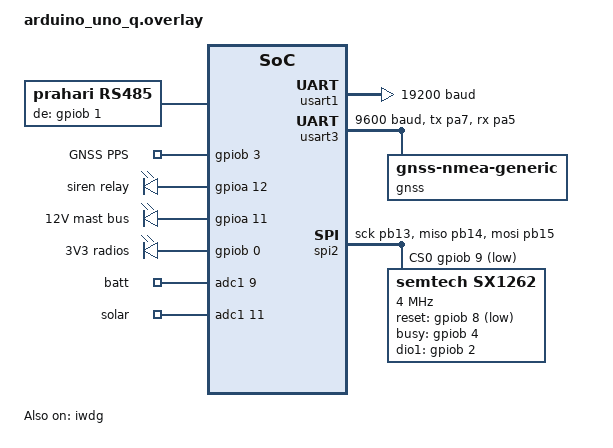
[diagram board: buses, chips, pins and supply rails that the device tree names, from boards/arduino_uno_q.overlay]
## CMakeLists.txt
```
# PRAHARI Code B — head node, MCU side (STM32U585 on the Arduino UNO Q).
# Blueprint §6.1: RS-485 bus master, LoRa TDMA timing, power sequencing,
# watchdog, GNSS pulse capture; plus the §6.8 siren/relay actuator.
#
# Build from the Zephyr workspace (code_a_pod_firmware/ holds the single
# Zephyr checkout for this repo):
#   cd code_a_pod_firmware && west build -b arduino_uno_q -d build/hn_mcu ../code_b_head_node/mcu
# SPDX-License-Identifier: Apache-2.0
cmake_minimum_required(VERSION 3.20.0)
find_package(Zephyr REQUIRED HINTS $ENV{ZEPHYR_BASE})
project(prahari_head_node_mcu LANGUAGES C)

# The pod <-> head-node wire protocol is defined once, in Code A, and
# compiled into both sides.  This is a protocol dependency, not a
# dependency on pod behaviour.
set(PRAHARI_CODE_A ${CMAKE_CURRENT_SOURCE_DIR}/../../code_a_pod_firmware/app)

target_include_directories(app PRIVATE include ${PRAHARI_CODE_A}/include)

target_sources(app PRIVATE
  # hardware-independent (also compiled into the ztest suites)
  src/tdma.c
  src/pps.c
  src/bus_master.c
  src/supervisor.c
  src/rails.c
  src/alert.c
  src/mprpc.c
  src/bridge_contract.c
  ${PRAHARI_CODE_A}/src/wire.c
  ${PRAHARI_CODE_A}/src/rs485.c
  # hardware glue + main
  src/hw_bus.c
  src/hw_lora.c
  src/hw_gnss.c
  src/hw_wdt.c
  src/hw_rails.c
  src/hw_alert.c
  src/hw_rpc.c
  src/main.c
)
```

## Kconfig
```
# SPDX-License-Identifier: Apache-2.0
mainmenu "PRAHARI head node — MCU side (Code B)"

config HN_NODE_ID
	string "Node identifier (hashed for the mesh slot, §7.4)"
	default "prahari-node-0"

config HN_POD_ADDRS
	string "Default RS-485 poll list, comma separated (overridden by \$PODS)"
	default "1,2,3"

config HN_SWEEP_CADENCE_S
	int "Default RS-485 sweep cadence (s)"
	range 1 3600
	default 60
	help
	  Risk-adaptive: the Linux side changes it with $CADENCE (§6.4).

config HN_BUS_REPLY_TIMEOUT_MS
	int "Wait for a pod's reply before marking it missing (ms)"
	default 100

config HN_BUS_TURNAROUND_MS
	int "Bus idle between a reply and the next poll (ms)"
	default 5

config HN_TDMA_SUPERFRAME_MS
	int "TDMA superframe = inference cycle (ms)"
	default 60000

config HN_TDMA_BEACON_MS
	int "Pod beacon airtime at superframe start (ms)"
	default 500

config HN_TDMA_POD_SLOT_MS
	int "Mode R pod uplink slot (ms)"
	default 2000

config HN_TDMA_POD_SLOTS
	int "Number of Mode R pod slots"
	default 8

config HN_TDMA_MESH_SLOT_MS
	int "Mesh slot (ms): 20 B embedding at SF10 is ~0.5 s"
	default 1000

config HN_TDMA_MESH_SLOTS
	int "Number of mesh slots (max head nodes per local mesh)"
	default 16

config HN_TDMA_GUARD_MS
	int "Guard around slot edges (ms)"
	default 50

config HN_LORA_FREQ_HZ
	int "LoRa centre frequency (Hz), §6.2 865-867 MHz"
	default 866000000

config HN_LORA_SF
	int "LoRa spreading factor (§7.3 SF7-SF10)"
	range 7 10
	default 9

config HN_LORA_TX_DBM
	int "LoRa TX power (dBm)"
	default 14

config HN_PPS_TOL_US
	int "PPS interval tolerance (us)"
	default 2000

config HN_PPS_LOCK_PULSES
	int "Good pulses before the clock counts as locked"
	default 3

config HN_PPS_HOLDOVER_S
	int "Seconds without PPS before holdover"
	default 10

config HN_WDT_TIMEOUT_MS
	int "Hardware watchdog timeout (ms)"
	default 8000

config HN_BATT_SHED_MV
	int "Shed the 12 V mast bus below this battery voltage (mV)"
	default 11800
	help
	  LiFePO4 12.8 V nominal (§6.4).  Not specified in the blueprint;
	  set from the battery's discharge curve.

config HN_BATT_RESTORE_MV
	int "Restore shed rails above this battery voltage (mV)"
	default 12400

config HN_ALERT_MAX_S
	int "Cap on a single siren command (s)"
	default 600

# SX1262 through Zephyr's native backend (no loramac-node module here).
configdefault LORA_SX126X
	default n

source "Kconfig.zephyr"
```

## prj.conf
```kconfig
# PRAHARI Code B — MCU side.
CONFIG_GPIO=y
CONFIG_SERIAL=y
CONFIG_UART_INTERRUPT_DRIVEN=y
CONFIG_SPI=y
CONFIG_LORA=y
CONFIG_ADC=y
CONFIG_WATCHDOG=y
CONFIG_GNSS=y
CONFIG_GNSS_SATELLITES=n
# No zephyr,console is chosen (see boards/arduino_uno_q.overlay: the only
# spare UART is dedicated to the binary MsgPack-RPC bridge) — CONFIG_CONSOLE
# and CONFIG_UART_CONSOLE are therefore left unset, and CONFIG_PRINTK stays
# on for a debugger-attached RTT/semihosting backend, not the RPC UART.
CONFIG_PRINTK=y
CONFIG_LOG=n
CONFIG_MAIN_STACK_SIZE=4096
CONFIG_SYSTEM_WORKQUEUE_STACK_SIZE=2048
CONFIG_HEAP_MEM_POOL_SIZE=2048
```

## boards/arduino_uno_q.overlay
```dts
/*
 * PRAHARI head node MCU side on the Arduino UNO Q (STM32U585).
 *
 * Provisional carrier-board pinout on the UNO R3 header (blueprint §10.1
 * "head node carrier" is not designed yet):
 *   USART1  D0/D1  PB7/PB6   RS-485 (isolated transceiver), DE on D6 PB1
 *   USART3  A1/A3  PA5/PA7   GNSS NMEA (only other UART on the header)
 *   D2      PB3              GNSS PPS input (EXTI, cycle-counter timestamp)
 *   SPI2    D11-13 + D10 CS  SX1262: RESET D9 PB8, BUSY D8 PB4, DIO1 D7 PB2
 *   D3      PB0              3.3 V radio rail enable
 *   D5      PA11             12 V mast bus enable (pods, RS-485)
 *   D4      PA12             siren / relay output
 *   A0      PA4  adc in9     battery voltage sense (through divider)
 *   A2      PA6  adc in11    solar current sense
 *   LPUART1 (internal, to QRB2210) MsgPack-RPC bridge to the Linux side
 *           — binary, so it is NOT the console.  The real UNO Q's
 *           Arduino_RouterBridge library is likewise documented as owning
 *           its UART port exclusively ("falling back to Serial1"), not
 *           sharing it with debug text; see code_b_head_node/README.md.
 *           There is no free UART left on this header for a text console
 *           (USART1 is RS-485, USART3 is GNSS) — CONFIG_PRINTK stays
 *           enabled for local debugging with a debugger attached, it
 *           simply has no UART backend to drive in this configuration.
 * SPDX-License-Identifier: Apache-2.0
 */
#include <zephyr/dt-bindings/gpio/gpio.h>

/ {
	chosen {
		prahari,rpc-uart = &lpuart1;
		prahari,lora = &sx1262;
		prahari,gnss = &gnss;
	};

	rs485: rs485 {
		compatible = "prahari,rs485";
		uart = <&usart1>;
		de-gpios = <&gpiob 1 GPIO_ACTIVE_HIGH>;
	};

	hn_gpios {
		compatible = "gpio-keys";
		pps_in: pps {
			gpios = <&gpiob 3 GPIO_ACTIVE_HIGH>;
			label = "GNSS PPS";
		};
	};

	hn_outputs {
		compatible = "gpio-leds";
		siren: siren {
			gpios = <&gpioa 12 GPIO_ACTIVE_HIGH>;
			label = "siren relay";
		};
		rail_12v: rail_12v {
			gpios = <&gpioa 11 GPIO_ACTIVE_HIGH>;
			label = "12V mast bus";
		};
		rail_radio: rail_radio {
			gpios = <&gpiob 0 GPIO_ACTIVE_HIGH>;
			label = "3V3 radios";
		};
	};

	zephyr,user {
		io-channels = <&adc1 9>, <&adc1 11>;
		io-channel-names = "batt", "solar";
	};
};

/* RS-485 on the header UART; 19200 8N1 multi-drop. */
&usart1 {
	current-speed = <19200>;
};

/* GNSS receiver on USART3 (A3 = TX from MCU, A1 = RX). */
&usart3 {
	pinctrl-0 = <&usart3_tx_pa7 &usart3_rx_pa5>;
	pinctrl-names = "default";
	current-speed = <9600>;
	status = "okay";

	gnss: gnss-nmea-generic {
		compatible = "gnss-nmea-generic";
	};
};

/* SX1262 on the header SPI; CS as a GPIO instead of hardware NSS. */
&spi2 {
	pinctrl-0 = <&spi2_sck_pb13 &spi2_miso_pb14 &spi2_mosi_pb15>;
	pinctrl-names = "default";
	cs-gpios = <&gpiob 9 GPIO_ACTIVE_LOW>;

	sx1262: sx1262@0 {
		compatible = "semtech,sx1262";
		reg = <0>;
		spi-max-frequency = <4000000>;
		reset-gpios = <&gpiob 8 GPIO_ACTIVE_LOW>;
		busy-gpios = <&gpiob 4 GPIO_ACTIVE_HIGH>;
		dio1-gpios = <&gpiob 2 GPIO_ACTIVE_HIGH>;
	};
};

&iwdg {
	status = "okay";
};
```

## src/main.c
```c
/*
 * PRAHARI Code B — head node MCU side (blueprint §6.1).
 *
 * One 10 ms supervisory loop drives:
 *   rails      power sequencing of the node's own rails, load shedding
 *   bus        RS-485 master: one sweep per cadence, silent pods marked
 *   tdma       LoRa: pod beacon + pod uplink window, mesh slot from the
 *              node-ID hash on PPS-disciplined UTC (holdover on local time)
 *   pps/gnss   UTC-of-second + pulse capture
 *   alert      siren actuator, commanded by the Linux side
 *   bridge     MsgPack-RPC byte channel to the Linux side — see
 *              hn/bridge_contract.h and code_b_head_node/README.md for
 *              the actual message contract this replaced the earlier
 *              ad hoc `$`-line protocol with
 *   supervisor feeds the IWDG only while all of the above check in
 *
 * No hazard decision is made here.  The Linux side owns the model, the
 * thresholds and the alert decision; this side senses, times and acts.
 * SPDX-License-Identifier: Apache-2.0
 */
#include <string.h>
#include <zephyr/kernel.h>
#include <prahari/lora_slot.h> /* lora_time_on_air_ms (shared protocol helper) */
#include <prahari/wire.h>
#include <hn/alert.h>
#include <hn/bridge_contract.h>
#include <hn/bus_master.h>
#include <hn/hw.h>
#include <hn/mprpc.h>
#include <hn/pps.h>
#include <hn/rails.h>
#include <hn/supervisor.h>
#include <hn/tdma.h>

/* ---- rails (§6.4) ---- */
enum { RAIL_12V_MAST = 0, RAIL_3V3_RADIO };
static const struct rail_cfg rail_cfg[] = {
	[RAIL_12V_MAST] = {"12V mast bus", 200, 2, CONFIG_HN_BATT_SHED_MV, CONFIG_HN_BATT_RESTORE_MV},
	[RAIL_3V3_RADIO] = {"3V3 radios", 50, 1, CONFIG_HN_BATT_SHED_MV - 400,
			    CONFIG_HN_BATT_RESTORE_MV - 400},
};
static struct rails rails;

/* ---- bus ---- */
static struct bus_master bus;
static uint32_t cadence_ms = CONFIG_HN_SWEEP_CADENCE_S * 1000u;
static uint32_t t_last_sweep;

/* ---- tdma ---- */
static const struct tdma_cfg tdma = {
	.superframe_ms = CONFIG_HN_TDMA_SUPERFRAME_MS,
	.beacon_ms = CONFIG_HN_TDMA_BEACON_MS,
	.pod_slot_ms = CONFIG_HN_TDMA_POD_SLOT_MS,
	.n_pod_slots = CONFIG_HN_TDMA_POD_SLOTS,
	.mesh_slot_ms = CONFIG_HN_TDMA_MESH_SLOT_MS,
	.n_mesh_slots = CONFIG_HN_TDMA_MESH_SLOTS,
	.guard_ms = CONFIG_HN_TDMA_GUARD_MS,
};
static struct tdma_layout layout;
static uint8_t mesh_slot;
static uint64_t next_beacon, next_mesh_tx, rx_stop_at;
static bool lora_ok, rx_window;
static uint8_t emb[BC_MAX_EMB];
static uint8_t emb_len;

/* ---- time ---- */
static struct pps_disc pps;

/* ---- alert, bridge, supervisor ---- */
static struct alert_out alert;
static struct supervisor sup;
static int ch_main, ch_bus, ch_tdma, ch_rpc;

/* Inbound byte accumulator for the streaming MessagePack-RPC decoder —
 * bytes trickle in from the UART ISR ring buffer; mp_scan_value finds the
 * boundary of each complete message as they arrive. */
#define RX_ACC_MAX 512
static uint8_t rx_acc[RX_ACC_MAX];
static size_t rx_acc_len;

static uint64_t utc_now(bool *locked)
{
	uint64_t utc;

	if (pps_local_to_utc_ms(&pps, hw_now_us(), &utc) == 0) {
		*locked = pps.state == PPS_LOCKED;
		return utc;
	}
	*locked = false;
	return k_uptime_get(); /* free-running until GNSS time arrives */
}

static uint8_t parse_addr_list(const char *s, uint8_t *out, uint8_t max)
{
	uint8_t n = 0;
	unsigned int v = 0;
	bool in = false;

	for (; ; s++) {
		if (*s >= '0' && *s <= '9') {
			v = v * 10 + (unsigned)(*s - '0');
			in = true;
		} else {
			if (in && n < max && v <= RS485_ADDR_MAX && rs485_addr_valid((uint8_t)v)) {
				out[n++] = (uint8_t)v;
			}
			v = 0;
			in = false;
			if (*s == '\0') {
				break;
			}
		}
	}
	return n;
}

static void send_msg(int n, uint8_t *buf)
{
	if (n > 0) {
		hw_rpc_send_bytes(buf, (size_t)n);
	}
}

static void emit_pod_report(uint8_t addr, const uint8_t *rep, size_t len)
{
	uint8_t buf[16 + WIRE_REPORT_MAX];

	send_msg(bc_encode_pod_report(buf, sizeof(buf), addr, rep, len), buf);
}

static void fill_status(struct bc_status *st)
{
	bool locked;

	utc_now(&locked);
	st->sweeps = bus.sweeps;
	st->pods = bus.n_pods;
	strncpy(st->pps, pps.state == PPS_LOCKED ? "locked" : pps.state == PPS_HOLDOVER ? "holdover"
											 : "unlocked",
	       BC_MAX_STR);
	st->pps[BC_MAX_STR] = '\0';
	st->drift_ppm = pps_drift_ppm(&pps);
	st->batt_mv = hw_batt_mv();
}

static void handle_bridge_msg(const struct bc_msg *m, uint32_t now)
{
	uint8_t buf[128];

	switch (m->type) {
	case BC_MSG_SET_ALERT:
		(void)alert_command(&alert, (enum alert_level)m->u.set_alert.level,
				   m->u.set_alert.seconds * 1000u, now);
		break;
	case BC_MSG_SET_PODS:
		if (!bus_sweep_active(&bus)) {
			(void)bus_master_init(&bus, m->u.set_pods.addrs, m->u.set_pods.n_addrs,
					      CONFIG_HN_BUS_REPLY_TIMEOUT_MS, CONFIG_HN_BUS_TURNAROUND_MS,
					      hw_bus_send, NULL);
		}
		break;
	case BC_MSG_SET_CADENCE:
		cadence_ms = m->u.set_cadence.seconds * 1000u; /* risk-adaptive duty cycle, §6.4 */
		break;
	case BC_MSG_SET_ARMED:
		(void)bus_send_arm(&bus, RS485_ADDR_BROADCAST, m->u.set_armed.armed);
		break;
	case BC_MSG_SET_EMBEDDING:
		memcpy(emb, m->u.set_embedding.emb, m->u.set_embedding.emb_len);
		emb_len = m->u.set_embedding.emb_len;
		break;
	case BC_MSG_GET_STATUS_CALL: {
		struct bc_status st;

		fill_status(&st);
		send_msg(bc_encode_get_status_response(buf, sizeof(buf), m->msg_id, &st), buf);
		break;
	}
	default:
		break; /* BC_MSG_NONE, or a message this side never expects to receive */
	}
}

static void poll_bridge(uint32_t now)
{
	for (;;) {
		size_t got = hw_rpc_read(rx_acc + rx_acc_len, RX_ACC_MAX - rx_acc_len);

		rx_acc_len += got;
		if (got == 0) {
			break;
		}
	}
	for (;;) {
		size_t msg_len;
		enum mp_scan_result r = mp_scan_value(rx_acc, rx_acc_len, &msg_len);

		if (r == MP_SCAN_NEED_MORE) {
			break;
		}
		if (r == MP_SCAN_ERROR) {
			/* Resync: drop one byte and keep scanning — a single corrupted
			 * byte must not wedge the channel for the rest of the boot. */
			memmove(rx_acc, rx_acc + 1, --rx_acc_len);
			continue;
		}
		struct bc_msg m;

		if (bc_decode(rx_acc, msg_len, &m) == 0) {
			handle_bridge_msg(&m, now);
			sup_checkin(&sup, ch_rpc, now);
		}
		memmove(rx_acc, rx_acc + msg_len, rx_acc_len - msg_len);
		rx_acc_len -= msg_len;
	}
}

static void service_bus(uint32_t now)
{
	struct rs485_frame f;
	uint8_t idx;
	enum bus_event ev;
	uint8_t buf[32];

	hw_bus_idle(now);
	while (hw_bus_rx_frame(&f, now)) {
		ev = bus_rx_frame(&bus, &f, now, &idx);
		if (ev == BUS_EVT_REPORT) {
			emit_pod_report(bus.pods[idx].addr, bus.pods[idx].report,
					bus.pods[idx].report_len);
		}
	}
	ev = bus_tick(&bus, now, &idx);
	if (ev == BUS_EVT_MISSING) {
		send_msg(bc_encode_pod_missing(buf, sizeof(buf), bus.pods[idx].addr), buf);
	} else if (ev == BUS_EVT_SWEEP_DONE) {
		uint8_t present = 0;
		struct bc_status st;

		for (uint8_t i = 0; i < bus.n_pods; i++) {
			present += bus.pods[i].present;
		}
		send_msg(bc_encode_sweep_done(buf, sizeof(buf), bus.sweeps, present, bus.n_pods), buf);
		/* Pod health rides along every sweep, not only on request. */
		fill_status(&st);
		{
			uint8_t sbuf[96];

			send_msg(bc_encode_node_status(sbuf, sizeof(sbuf), &st), sbuf);
		}
		sup_checkin(&sup, ch_bus, now);
	}
	if (!bus_sweep_active(&bus) && (uint32_t)(now - t_last_sweep) >= cadence_ms) {
		t_last_sweep = now;
		if (bus_sweep_start(&bus, now) == -ENODEV) {
			sup_checkin(&sup, ch_bus, now); /* no pods configured: not a hang */
		}
	}
}

static void service_tdma(uint32_t now)
{
	bool locked;
	uint64_t utc = utc_now(&locked);
	uint8_t pkt[256];
	int n;

	if (!lora_ok) {
		sup_checkin(&sup, ch_tdma, now);
		return;
	}

	/* Superframe start: beacon to our Mode R pods, then listen for them. */
	if (utc >= next_beacon) {
		struct wire_beacon b = {
			.superframe_idx = (uint16_t)tdma_superframe_index(&tdma, utc),
			.slot_ms = tdma.pod_slot_ms,
			.n_slots = tdma.n_pod_slots,
			.beacon_ms = tdma.beacon_ms,
		};

		n = wire_encode_beacon(&b, pkt, sizeof(pkt));
		if (n > 0) {
			(void)hw_lora_send(pkt, (size_t)n);
		}
		(void)hw_lora_rx_start();
		rx_window = true;
		rx_stop_at = next_beacon + layout.used_ms; /* pod region then mesh region */
		next_beacon = tdma_next_beacon(&tdma, utc + 1);
		sup_checkin(&sup, ch_tdma, now);
		/* GNSS-disciplined time, pushed once per superframe. */
		uint8_t tbuf[32];

		send_msg(bc_encode_time_sync(tbuf, sizeof(tbuf), utc, locked ? "locked" : "holdover"), tbuf);
	}

	/* Our mesh slot: broadcast the embedding the Linux side gave us (§7.4 step 4). */
	if (utc >= next_mesh_tx) {
		if (emb_len) {
			(void)hw_lora_send(emb, emb_len);
			if (rx_window) {
				(void)hw_lora_rx_start();
			}
		}
		next_mesh_tx = tdma_next_mesh_tx(&tdma, utc + 1, mesh_slot);
	}

	if (rx_window && utc >= rx_stop_at) {
		(void)hw_lora_rx_stop();
		rx_window = false;
	}

	/* Anything received: a pod uplink (decoded here) or a neighbour's packet. */
	while ((n = hw_lora_rx_pop(pkt, sizeof(pkt), NULL)) > 0) {
		uint8_t addr;
		const uint8_t *rep;
		size_t rlen;

		if (wire_decode_lora_uplink(pkt, (size_t)n, &addr, &rep, &rlen) == 0) {
			emit_pod_report(addr, rep, rlen);
		} else {
			uint8_t nbuf[16 + 256];

			send_msg(bc_encode_neighbour_packet(nbuf, sizeof(nbuf), pkt, (size_t)n), nbuf);
		}
	}
}

int main(void)
{
	uint32_t now = k_uptime_get_32();
	uint8_t addrs[BUS_MAX_PODS];
	uint8_t n_addrs;
	const char *node_id = CONFIG_HN_NODE_ID;
	int rc;

	sup_init(&sup, now);
	ch_main = sup_register(&sup, "main", 2000, true);
	ch_bus = sup_register(&sup, "bus", 3 * cadence_ms + 20000, true);
	ch_tdma = sup_register(&sup, "tdma", 3 * tdma.superframe_ms, true);
	ch_rpc = sup_register(&sup, "rpc", 0xFFFFFFFFu, false); /* informational */
	(void)hw_wdt_init(CONFIG_HN_WDT_TIMEOUT_MS);

	/* 1. Rails up in order: mast bus (pods need time to boot), then radios. */
	rc = hw_rails_init();
	(void)rc;
	(void)rails_init(&rails, rail_cfg, ARRAY_SIZE(rail_cfg), hw_rail_set, NULL, now);
	rails_request(&rails, RAIL_12V_MAST, true);
	rails_request(&rails, RAIL_3V3_RADIO, true);
	while (!rails_all_settled(&rails)) {
		rails_tick(&rails, k_uptime_get_32(), hw_batt_mv() ? hw_batt_mv() : 12800);
		k_sleep(K_MSEC(10));
	}

	/* 2. Links. */
	(void)hw_rpc_init();
	(void)hw_bus_init();
	n_addrs = parse_addr_list(CONFIG_HN_POD_ADDRS, addrs, BUS_MAX_PODS);
	(void)bus_master_init(&bus, addrs, n_addrs, CONFIG_HN_BUS_REPLY_TIMEOUT_MS,
			      CONFIG_HN_BUS_TURNAROUND_MS, hw_bus_send, NULL);

	pps_init(&pps, CONFIG_HN_PPS_TOL_US, CONFIG_HN_PPS_LOCK_PULSES,
		 CONFIG_HN_PPS_HOLDOVER_S * 1000000u);
	(void)hw_gnss_init(&pps);

	(void)tdma_layout(&tdma, &layout);
	mesh_slot = tdma_mesh_slot((const uint8_t *)node_id, strlen(node_id), tdma.n_mesh_slots);
	rc = hw_lora_init(CONFIG_HN_LORA_SF, CONFIG_HN_LORA_FREQ_HZ, CONFIG_HN_LORA_TX_DBM);
	lora_ok = rc == 0;
	{
		bool locked;
		uint64_t utc = utc_now(&locked);

		next_beacon = tdma_next_beacon(&tdma, utc);
		next_mesh_tx = tdma_next_mesh_tx(&tdma, utc, mesh_slot);
	}

	alert_init(&alert, 1000, 2000, CONFIG_HN_ALERT_MAX_S * 1000u);
	(void)hw_alert_init();

	t_last_sweep = k_uptime_get_32() - cadence_ms; /* first sweep immediately */

	while (1) {
		now = k_uptime_get_32();
		hw_clock_service();
		(void)pps_tick(&pps, hw_now_us());

		rails_tick(&rails, now, hw_batt_mv());
		service_bus(now);
		service_tdma(now);
		poll_bridge(now);

		hw_alert_set(alert_tick(&alert, now));

		sup_checkin(&sup, ch_main, now);
		if (sup_should_feed(&sup, now)) {
			hw_wdt_feed();
		}
		k_sleep(K_MSEC(10));
	}
	return 0;
}
```

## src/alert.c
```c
/* SPDX-License-Identifier: Apache-2.0 */
#include <errno.h>
#include <string.h>
#include <hn/alert.h>

void alert_init(struct alert_out *a, uint16_t adv_on_ms, uint16_t adv_off_ms,
		uint32_t max_duration_ms)
{
	memset(a, 0, sizeof(*a));
	a->adv_on_ms = adv_on_ms ? adv_on_ms : 1000;
	a->adv_off_ms = adv_off_ms ? adv_off_ms : 2000;
	a->max_duration_ms = max_duration_ms;
}

int alert_command(struct alert_out *a, enum alert_level level, uint32_t duration_ms,
		  uint32_t now_ms)
{
	if (level > ALERT_WARNING) {
		return -EINVAL;
	}
	a->commands++;
	if (level == ALERT_OFF || duration_ms == 0) {
		a->level = ALERT_OFF;
		a->siren = false;
		return 0;
	}
	if (a->max_duration_ms && duration_ms > a->max_duration_ms) {
		duration_ms = a->max_duration_ms;
	}
	a->level = level;
	a->t_start = now_ms;
	a->t_end = now_ms + duration_ms;
	return 0;
}

bool alert_tick(struct alert_out *a, uint32_t now_ms)
{
	if (a->level == ALERT_OFF) {
		a->siren = false;
		return false;
	}
	if ((int32_t)(now_ms - a->t_end) >= 0) {
		a->level = ALERT_OFF;
		a->siren = false;
		a->expiries++;
		return false;
	}
	if (a->level == ALERT_WARNING) {
		a->siren = true;
	} else {
		uint32_t period = (uint32_t)a->adv_on_ms + a->adv_off_ms;
		uint32_t ph = (now_ms - a->t_start) % period;

		a->siren = ph < a->adv_on_ms;
	}
	return a->siren;
}

uint32_t alert_remaining_ms(const struct alert_out *a, uint32_t now_ms)
{
	if (a->level == ALERT_OFF || (int32_t)(now_ms - a->t_end) >= 0) {
		return 0;
	}
	return a->t_end - now_ms;
}
```

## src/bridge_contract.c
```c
/* SPDX-License-Identifier: Apache-2.0 */
#include <string.h>
#include <hn/bridge_contract.h>
#include <hn/mprpc.h>

/* ================================================================ shared helpers */
static int put_method_str(uint8_t *buf, size_t cap, size_t *off, const char *m)
{
	return mp_put_str(buf, cap, off, m, strlen(m));
}

/* [NOTIFICATION_TAG, method, params...] with params encoded by the caller
 * after this header — n_params is the count the caller is about to write. */
static int notify_header(uint8_t *buf, size_t cap, size_t *off, const char *method, size_t n_params)
{
	if (mp_put_array_header(buf, cap, off, 3)) {
		return -1;
	}
	if (mp_put_int(buf, cap, off, BC_MSGTYPE_NOTIFICATION)) {
		return -1;
	}
	if (put_method_str(buf, cap, off, method)) {
		return -1;
	}
	return mp_put_array_header(buf, cap, off, n_params);
}

static int encode_status_map(uint8_t *buf, size_t cap, size_t *off, const struct bc_status *st)
{
	return mp_put_map_header(buf, cap, off, 5) ||
	       mp_put_str(buf, cap, off, "sweeps", 6) || mp_put_int(buf, cap, off, st->sweeps) ||
	       mp_put_str(buf, cap, off, "pods", 4) || mp_put_int(buf, cap, off, st->pods) ||
	       mp_put_str(buf, cap, off, "pps", 3) || mp_put_str(buf, cap, off, st->pps, strlen(st->pps)) ||
	       mp_put_str(buf, cap, off, "drift_ppm", 9) || mp_put_int(buf, cap, off, st->drift_ppm) ||
	       mp_put_str(buf, cap, off, "batt_mv", 7) || mp_put_int(buf, cap, off, st->batt_mv);
}

/* ================================================================ MCU -> Linux */
int bc_encode_pod_report(uint8_t *buf, size_t cap, uint8_t addr, const uint8_t *report, size_t rlen)
{
	size_t off = 0;

	if (rlen > BC_MAX_REPORT) {
		return -1;
	}
	if (notify_header(buf, cap, &off, BC_METHOD_POD_REPORT, 2)) {
		return -1;
	}
	if (mp_put_int(buf, cap, &off, addr) || mp_put_bin(buf, cap, &off, report, rlen)) {
		return -1;
	}
	return (int)off;
}

int bc_encode_pod_missing(uint8_t *buf, size_t cap, uint8_t addr)
{
	size_t off = 0;

	if (notify_header(buf, cap, &off, BC_METHOD_POD_MISSING, 1)) {
		return -1;
	}
	return mp_put_int(buf, cap, &off, addr) ? -1 : (int)off;
}

int bc_encode_sweep_done(uint8_t *buf, size_t cap, uint32_t sweep, uint32_t present, uint32_t total)
{
	size_t off = 0;

	if (notify_header(buf, cap, &off, BC_METHOD_SWEEP_DONE, 3)) {
		return -1;
	}
	if (mp_put_int(buf, cap, &off, sweep) || mp_put_int(buf, cap, &off, present) ||
	    mp_put_int(buf, cap, &off, total)) {
		return -1;
	}
	return (int)off;
}

int bc_encode_neighbour_packet(uint8_t *buf, size_t cap, const uint8_t *packet, size_t plen)
{
	size_t off = 0;

	if (notify_header(buf, cap, &off, BC_METHOD_NEIGHBOUR_PACKET, 1)) {
		return -1;
	}
	return mp_put_bin(buf, cap, &off, packet, plen) ? -1 : (int)off;
}

int bc_encode_time_sync(uint8_t *buf, size_t cap, uint64_t utc_ms, const char *state)
{
	size_t off = 0;

	if (notify_header(buf, cap, &off, BC_METHOD_TIME_SYNC, 2)) {
		return -1;
	}
	if (mp_put_int(buf, cap, &off, (int64_t)utc_ms) || mp_put_str(buf, cap, &off, state, strlen(state))) {
		return -1;
	}
	return (int)off;
}

int bc_encode_node_status(uint8_t *buf, size_t cap, const struct bc_status *st)
{
	size_t off = 0;

	if (notify_header(buf, cap, &off, BC_METHOD_NODE_STATUS, 1)) {
		return -1;
	}
	return encode_status_map(buf, cap, &off, st) ? -1 : (int)off;
}

int bc_encode_get_status_response(uint8_t *buf, size_t cap, uint32_t msg_id, const struct bc_status *st)
{
	size_t off = 0;

	if (mp_put_array_header(buf, cap, &off, 4) || mp_put_int(buf, cap, &off, BC_MSGTYPE_RESPONSE) ||
	    mp_put_int(buf, cap, &off, msg_id) || mp_put_nil(buf, cap, &off) /* no error */) {
		return -1;
	}
	return encode_status_map(buf, cap, &off, st) ? -1 : (int)off;
}

/* ================================================================ Linux -> MCU */
int bc_encode_set_alert(uint8_t *buf, size_t cap, uint8_t level, uint32_t seconds)
{
	size_t off = 0;

	if (notify_header(buf, cap, &off, BC_METHOD_SET_ALERT, 2)) {
		return -1;
	}
	if (mp_put_int(buf, cap, &off, level) || mp_put_int(buf, cap, &off, seconds)) {
		return -1;
	}
	return (int)off;
}

int bc_encode_set_cadence(uint8_t *buf, size_t cap, uint32_t seconds)
{
	size_t off = 0;

	if (notify_header(buf, cap, &off, BC_METHOD_SET_CADENCE, 1)) {
		return -1;
	}
	return mp_put_int(buf, cap, &off, seconds) ? -1 : (int)off;
}

int bc_encode_set_pods(uint8_t *buf, size_t cap, const uint8_t *addrs, size_t n_addrs)
{
	size_t off = 0;

	if (notify_header(buf, cap, &off, BC_METHOD_SET_PODS, 1)) {
		return -1;
	}
	if (mp_put_array_header(buf, cap, &off, n_addrs)) {
		return -1;
	}
	for (size_t i = 0; i < n_addrs; i++) {
		if (mp_put_int(buf, cap, &off, addrs[i])) {
			return -1;
		}
	}
	return (int)off;
}

int bc_encode_set_armed(uint8_t *buf, size_t cap, bool armed)
{
	size_t off = 0;

	if (notify_header(buf, cap, &off, BC_METHOD_SET_ARMED, 1)) {
		return -1;
	}
	return mp_put_bool(buf, cap, &off, armed) ? -1 : (int)off;
}

int bc_encode_set_embedding(uint8_t *buf, size_t cap, const uint8_t *emb, size_t elen)
{
	size_t off = 0;

	if (notify_header(buf, cap, &off, BC_METHOD_SET_EMBEDDING, 1)) {
		return -1;
	}
	return mp_put_bin(buf, cap, &off, emb, elen) ? -1 : (int)off;
}

int bc_encode_get_status_call(uint8_t *buf, size_t cap, uint32_t msg_id)
{
	size_t off = 0;

	if (mp_put_array_header(buf, cap, &off, 4) || mp_put_int(buf, cap, &off, BC_MSGTYPE_REQUEST) ||
	    mp_put_int(buf, cap, &off, msg_id) || put_method_str(buf, cap, &off, BC_METHOD_GET_STATUS)) {
		return -1;
	}
	return mp_put_array_header(buf, cap, &off, 0) ? -1 : (int)off;
}

/* ================================================================ decoder */
static int method_eq(const char *ptr, size_t len, const char *name)
{
	return len == strlen(name) && memcmp(ptr, name, len) == 0;
}

static int decode_status_map(struct mp_reader *r, struct bc_status *st)
{
	size_t n;
	const char *kp;
	size_t klen;
	int64_t iv;

	memset(st, 0, sizeof(*st));
	if (mp_get_map_header(r, &n)) {
		return -1;
	}
	for (size_t i = 0; i < n; i++) {
		if (mp_get_str(r, &kp, &klen)) {
			return -1;
		}
		if (method_eq(kp, klen, "sweeps")) {
			if (mp_get_int(r, &iv)) return -1;
			st->sweeps = (uint32_t)iv;
		} else if (method_eq(kp, klen, "pods")) {
			if (mp_get_int(r, &iv)) return -1;
			st->pods = (uint32_t)iv;
		} else if (method_eq(kp, klen, "pps")) {
			const char *sp;
			size_t slen;

			if (mp_get_str(r, &sp, &slen)) return -1;
			if (slen > BC_MAX_STR) slen = BC_MAX_STR;
			memcpy(st->pps, sp, slen);
			st->pps[slen] = '\0';
		} else if (method_eq(kp, klen, "drift_ppm")) {
			if (mp_get_int(r, &iv)) return -1;
			st->drift_ppm = (int32_t)iv;
		} else if (method_eq(kp, klen, "batt_mv")) {
			if (mp_get_int(r, &iv)) return -1;
			st->batt_mv = (uint32_t)iv;
		} else if (mp_skip_value(r)) {
			return -1; /* forward-compatible: unknown key, skip its value */
		}
	}
	return 0;
}

static int decode_notification_params(struct mp_reader *r, const char *method, size_t mlen, struct bc_msg *out)
{
	size_t n;
	int64_t iv;

	if (mp_get_array_header(r, &n)) {
		return -1;
	}
	if (method_eq(method, mlen, BC_METHOD_POD_REPORT) && n == 2) {
		const uint8_t *rep;
		size_t rlen;

		if (mp_get_int(r, &iv) || mp_get_bin(r, &rep, &rlen) || rlen > BC_MAX_REPORT) {
			return -1;
		}
		out->type = BC_MSG_POD_REPORT;
		out->u.pod_report.addr = (uint8_t)iv;
		out->u.pod_report.report = rep;
		out->u.pod_report.report_len = rlen;
		return 0;
	}
	if (method_eq(method, mlen, BC_METHOD_POD_MISSING) && n == 1) {
		if (mp_get_int(r, &iv)) return -1;
		out->type = BC_MSG_POD_MISSING;
		out->u.pod_missing.addr = (uint8_t)iv;
		return 0;
	}
	if (method_eq(method, mlen, BC_METHOD_SWEEP_DONE) && n == 3) {
		int64_t a, b, c;

		if (mp_get_int(r, &a) || mp_get_int(r, &b) || mp_get_int(r, &c)) return -1;
		out->type = BC_MSG_SWEEP_DONE;
		out->u.sweep_done.sweep = (uint32_t)a;
		out->u.sweep_done.present = (uint32_t)b;
		out->u.sweep_done.total = (uint32_t)c;
		return 0;
	}
	if (method_eq(method, mlen, BC_METHOD_NEIGHBOUR_PACKET) && n == 1) {
		const uint8_t *pkt;
		size_t plen;

		if (mp_get_bin(r, &pkt, &plen)) return -1;
		out->type = BC_MSG_NEIGHBOUR_PACKET;
		out->u.neighbour_packet.packet = pkt;
		out->u.neighbour_packet.packet_len = plen;
		return 0;
	}
	if (method_eq(method, mlen, BC_METHOD_TIME_SYNC) && n == 2) {
		const char *sp;
		size_t slen;

		if (mp_get_int(r, &iv) || mp_get_str(r, &sp, &slen)) return -1;
		if (slen > BC_MAX_STR) slen = BC_MAX_STR;
		out->type = BC_MSG_TIME_SYNC;
		out->u.time_sync.utc_ms = (uint64_t)iv;
		memcpy(out->u.time_sync.state, sp, slen);
		out->u.time_sync.state[slen] = '\0';
		return 0;
	}
	if (method_eq(method, mlen, BC_METHOD_NODE_STATUS) && n == 1) {
		if (decode_status_map(r, &out->u.status)) return -1;
		out->type = BC_MSG_NODE_STATUS;
		return 0;
	}
	if (method_eq(method, mlen, BC_METHOD_SET_ALERT) && n == 2) {
		int64_t lvl, sec;

		if (mp_get_int(r, &lvl) || mp_get_int(r, &sec)) return -1;
		out->type = BC_MSG_SET_ALERT;
		out->u.set_alert.level = (uint8_t)lvl;
		out->u.set_alert.seconds = (uint32_t)sec;
		return 0;
	}
	if (method_eq(method, mlen, BC_METHOD_SET_CADENCE) && n == 1) {
		if (mp_get_int(r, &iv)) return -1;
		out->type = BC_MSG_SET_CADENCE;
		out->u.set_cadence.seconds = (uint32_t)iv;
		return 0;
	}
	if (method_eq(method, mlen, BC_METHOD_SET_PODS) && n == 1) {
		size_t na;

		if (mp_get_array_header(r, &na) || na > BC_MAX_ADDRS) return -1;
		out->type = BC_MSG_SET_PODS;
		out->u.set_pods.n_addrs = (uint8_t)na;
		for (size_t i = 0; i < na; i++) {
			if (mp_get_int(r, &iv)) return -1;
			out->u.set_pods.addrs[i] = (uint8_t)iv;
		}
		return 0;
	}
	if (method_eq(method, mlen, BC_METHOD_SET_ARMED) && n == 1) {
		bool armed;

		if (mp_get_bool(r, &armed)) return -1;
		out->type = BC_MSG_SET_ARMED;
		out->u.set_armed.armed = armed;
		return 0;
	}
	if (method_eq(method, mlen, BC_METHOD_SET_EMBEDDING) && n == 1) {
		const uint8_t *emb;
		size_t elen;

		if (mp_get_bin(r, &emb, &elen) || elen > BC_MAX_EMB) return -1;
		out->type = BC_MSG_SET_EMBEDDING;
		out->u.set_embedding.emb_len = (uint8_t)elen;
		memcpy(out->u.set_embedding.emb, emb, elen);
		return 0;
	}
	/* Recognised MessagePack-RPC, unrecognised method/arity: skip its params and report NONE. */
	for (size_t i = 0; i < n; i++) {
		if (mp_skip_value(r)) {
			return -1;
		}
	}
	out->type = BC_MSG_NONE;
	return 0;
}

int bc_decode(const uint8_t *buf, size_t len, struct bc_msg *out)
{
	struct mp_reader r;
	size_t arr_n;
	int64_t type_tag;

	memset(out, 0, sizeof(*out));
	mp_reader_init(&r, buf, len);
	if (mp_get_array_header(&r, &arr_n) || mp_get_int(&r, &type_tag)) {
		return -1;
	}
	if (type_tag == BC_MSGTYPE_NOTIFICATION && arr_n == 3) {
		const char *method;
		size_t mlen;

		if (mp_get_str(&r, &method, &mlen)) {
			return -1;
		}
		return decode_notification_params(&r, method, mlen, out);
	}
	if (type_tag == BC_MSGTYPE_REQUEST && arr_n == 4) {
		int64_t msgid;
		const char *method;
		size_t mlen, pn;

		if (mp_get_int(&r, &msgid) || mp_get_str(&r, &method, &mlen)) {
			return -1;
		}
		if (mp_get_array_header(&r, &pn)) {
			return -1;
		}
		for (size_t i = 0; i < pn; i++) {
			if (mp_skip_value(&r)) {
				return -1;
			}
		}
		if (method_eq(method, mlen, BC_METHOD_GET_STATUS) && pn == 0) {
			out->type = BC_MSG_GET_STATUS_CALL;
			out->msg_id = (uint32_t)msgid;
			return 0;
		}
		out->type = BC_MSG_NONE;
		out->msg_id = (uint32_t)msgid;
		return 0;
	}
	if (type_tag == BC_MSGTYPE_RESPONSE && arr_n == 4) {
		int64_t msgid;

		if (mp_get_int(&r, &msgid)) {
			return -1;
		}
		out->msg_id = (uint32_t)msgid;
		if (mp_get_nil(&r)) {
			if (decode_status_map(&r, &out->u.status)) {
				return -1;
			}
			out->type = BC_MSG_GET_STATUS_RESPONSE;
			out->error = false;
			return 0;
		}
		/* error present: [code, message] — skip it, skip the (irrelevant) result, report the error */
		if (mp_skip_value(&r) || mp_skip_value(&r)) {
			return -1;
		}
		out->type = BC_MSG_GET_STATUS_RESPONSE;
		out->error = true;
		return 0;
	}
	return -1;
}
```

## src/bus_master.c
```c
/* SPDX-License-Identifier: Apache-2.0 */
#include <errno.h>
#include <string.h>
#include <hn/bus_master.h>

int bus_master_init(struct bus_master *b, const uint8_t *addrs, uint8_t n, uint16_t reply_timeout_ms,
		    uint16_t turnaround_ms, int (*send)(void *, const uint8_t *, size_t), void *ctx)
{
	if (!b || !send || n > BUS_MAX_PODS) {
		return -EINVAL;
	}
	memset(b, 0, sizeof(*b));
	for (uint8_t i = 0; i < n; i++) {
		if (!rs485_addr_valid(addrs[i])) {
			return -EINVAL;
		}
		b->pods[i].addr = addrs[i];
	}
	b->n_pods = n;
	b->reply_timeout_ms = reply_timeout_ms;
	b->turnaround_ms = turnaround_ms;
	b->send = send;
	b->ctx = ctx;
	return 0;
}

static int poll_pod(struct bus_master *b, uint8_t idx, uint32_t now)
{
	struct rs485_frame f = {.addr = b->pods[idx].addr, .cmd = RS485_CMD_POLL, .len = 1};
	uint8_t buf[RS485_FRAME_MAX];
	int n;

	f.payload[0] = b->seq++;
	n = rs485_frame_encode(&f, buf, sizeof(buf));
	if (n < 0) {
		return n;
	}
	b->pods[idx].polls++;
	b->state = BUS_WAIT_REPLY;
	b->t_state = now;
	return b->send(b->ctx, buf, (size_t)n);
}

int bus_sweep_start(struct bus_master *b, uint32_t now_ms)
{
	if (b->state != BUS_IDLE) {
		return -EBUSY;
	}
	if (b->n_pods == 0) {
		return -ENODEV;
	}
	b->idx = 0;
	return poll_pod(b, 0, now_ms);
}

bool bus_sweep_active(const struct bus_master *b)
{
	return b->state != BUS_IDLE;
}

/* Move to the next pod (or to the end-of-sweep sentinel) after a bus
 * turnaround gap.  SWEEP_DONE is emitted from bus_tick once the gap
 * after the last reply/timeout has elapsed. */
static void advance(struct bus_master *b, uint32_t now)
{
	b->idx++; /* may equal n_pods: nothing left to poll */
	b->state = BUS_TURNAROUND;
	b->t_state = now;
}

enum bus_event bus_rx_frame(struct bus_master *b, const struct rs485_frame *f, uint32_t now_ms,
			    uint8_t *pod_idx)
{
	struct bus_pod *p;

	if (b->state != BUS_WAIT_REPLY) {
		return BUS_EVT_NONE; /* late or unsolicited: ignored */
	}
	p = &b->pods[b->idx];
	if (f->addr != p->addr) {
		return BUS_EVT_NONE; /* a different pod (late reply): ignored */
	}
	if (f->cmd != RS485_CMD_REPORT) {
		p->bad_replies++;
		return BUS_EVT_NONE;
	}
	p->present = true;
	p->misses = 0;
	p->replies++;
	p->t_last_reply = now_ms;
	p->report_len = f->len;
	memcpy(p->report, f->payload, f->len);
	if (pod_idx) {
		*pod_idx = b->idx;
	}
	advance(b, now_ms);
	return BUS_EVT_REPORT;
}

enum bus_event bus_tick(struct bus_master *b, uint32_t now_ms, uint8_t *pod_idx)
{
	switch (b->state) {
	case BUS_WAIT_REPLY:
		if ((uint32_t)(now_ms - b->t_state) >= b->reply_timeout_ms) {
			struct bus_pod *p = &b->pods[b->idx];

			p->present = false;
			if (p->misses < 255) {
				p->misses++;
			}
			p->timeouts++;
			if (pod_idx) {
				*pod_idx = b->idx;
			}
			advance(b, now_ms);
			return BUS_EVT_MISSING;
		}
		return BUS_EVT_NONE;
	case BUS_TURNAROUND:
		if ((uint32_t)(now_ms - b->t_state) >= b->turnaround_ms) {
			if (b->idx >= b->n_pods) {
				b->state = BUS_IDLE;
				b->sweeps++;
				return BUS_EVT_SWEEP_DONE;
			}
			(void)poll_pod(b, b->idx, now_ms);
		}
		return BUS_EVT_NONE;
	default:
		return BUS_EVT_NONE;
	}
}

int bus_send_arm(struct bus_master *b, uint8_t addr, bool armed)
{
	struct rs485_frame f = {.addr = addr, .cmd = RS485_CMD_ARM, .len = 1};
	uint8_t buf[RS485_FRAME_MAX];
	int n;

	if (b->state != BUS_IDLE) {
		return -EBUSY;
	}
	f.payload[0] = armed ? 1 : 0;
	n = rs485_frame_encode(&f, buf, sizeof(buf));
	if (n < 0) {
		return n;
	}
	return b->send(b->ctx, buf, (size_t)n);
}

uint32_t bus_sweep_worst_case_ms(const struct bus_master *b)
{
	return (uint32_t)b->n_pods * ((uint32_t)b->reply_timeout_ms + b->turnaround_ms);
}
```

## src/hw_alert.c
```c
/* Siren / relay GPIO (§6.8 actuator only).
 * SPDX-License-Identifier: Apache-2.0 */
#include <zephyr/drivers/gpio.h>
#include <hn/hw.h>

static const struct gpio_dt_spec siren = GPIO_DT_SPEC_GET(DT_NODELABEL(siren), gpios);
static const struct gpio_dt_spec led = GPIO_DT_SPEC_GET(DT_ALIAS(led1), gpios);

int hw_alert_init(void)
{
	int rc;

	if (!gpio_is_ready_dt(&siren) || !gpio_is_ready_dt(&led)) {
		return -ENODEV;
	}
	rc = gpio_pin_configure_dt(&siren, GPIO_OUTPUT_INACTIVE);
	if (rc) {
		return rc;
	}
	return gpio_pin_configure_dt(&led, GPIO_OUTPUT_INACTIVE);
}

void hw_alert_set(bool on)
{
	(void)gpio_pin_set_dt(&siren, on ? 1 : 0);
	(void)gpio_pin_set_dt(&led, on ? 1 : 0);
}
```

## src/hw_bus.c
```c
/* RS-485 bus master transport: USART1 interrupt RX into a ring, byte parser
 * from Code A's protocol, DE held through the last stop bit on TX.
 * SPDX-License-Identifier: Apache-2.0 */
#include <zephyr/device.h>
#include <zephyr/drivers/gpio.h>
#include <zephyr/drivers/uart.h>
#include <zephyr/kernel.h>
#include <hn/hw.h>

#define RS485_NODE DT_PATH(rs485)
static const struct device *const uart = DEVICE_DT_GET(DT_PHANDLE(RS485_NODE, uart));
static const struct gpio_dt_spec de = GPIO_DT_SPEC_GET(RS485_NODE, de_gpios);

#define RING 512
static struct {
	uint8_t buf[RING];
	volatile uint16_t head, tail;
} rx;
static struct rs485_parser parser;

static void isr(const struct device *dev, void *ud)
{
	ARG_UNUSED(ud);
	while (uart_irq_update(dev) && uart_irq_rx_ready(dev)) {
		uint8_t b;

		while (uart_fifo_read(dev, &b, 1) == 1) {
			uint16_t next = (uint16_t)((rx.head + 1) % RING);

			if (next != rx.tail) {
				rx.buf[rx.head] = b;
				rx.head = next;
			}
		}
	}
}

int hw_bus_init(void)
{
	int rc;

	if (!device_is_ready(uart) || !gpio_is_ready_dt(&de)) {
		return -ENODEV;
	}
	rc = gpio_pin_configure_dt(&de, GPIO_OUTPUT_INACTIVE);
	if (rc) {
		return rc;
	}
	rs485_parser_init(&parser);
	rc = uart_irq_callback_user_data_set(uart, isr, NULL);
	if (rc) {
		return rc;
	}
	uart_irq_rx_enable(uart);
	return 0;
}

int hw_bus_send(void *ctx, const uint8_t *buf, size_t len)
{
	int spin = 5000;

	ARG_UNUSED(ctx);
	gpio_pin_set_dt(&de, 1);
	for (size_t i = 0; i < len; i++) {
		uart_poll_out(uart, buf[i]);
	}
	while (!uart_irq_tx_complete(uart) && spin-- > 0) {
		k_busy_wait(5);
	}
	gpio_pin_set_dt(&de, 0);
	return 0;
}

bool hw_bus_rx_frame(struct rs485_frame *out, uint32_t now_ms)
{
	while (rx.tail != rx.head) {
		uint8_t b = rx.buf[rx.tail];

		rx.tail = (uint16_t)((rx.tail + 1) % RING);
		if (rs485_parser_byte(&parser, b, now_ms)) {
			*out = parser.frame;
			return true;
		}
	}
	return false;
}

void hw_bus_idle(uint32_t now_ms)
{
	rs485_parser_idle(&parser, now_ms, 20);
}
```

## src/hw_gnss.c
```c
/* GNSS (NMEA over USART3) for UTC-of-second, PPS edge on a GPIO with a
 * cycle-counter timestamp.  §6.3: the pulse is the point; the fix is a
 * bonus.  Also owns the software-extended microsecond clock.
 * SPDX-License-Identifier: Apache-2.0 */
#include <zephyr/device.h>
#include <zephyr/drivers/gnss.h>
#include <zephyr/drivers/gpio.h>
#include <zephyr/kernel.h>
#include <zephyr/spinlock.h>
#include <zephyr/sys/timeutil.h>
#include <hn/hw.h>

/* ---- 64-bit cycle extension -> microseconds ---- */
static struct k_spinlock clk_lock;
static uint32_t last_cyc;
static uint64_t cyc_hi;

static uint64_t cycles64(void)
{
	k_spinlock_key_t k = k_spin_lock(&clk_lock);
	uint32_t c = k_cycle_get_32();

	if (c < last_cyc) {
		cyc_hi += (uint64_t)1 << 32;
	}
	last_cyc = c;
	{
		uint64_t v = cyc_hi | c;

		k_spin_unlock(&clk_lock, k);
		return v;
	}
}

uint32_t hw_now_us(void)
{
	return (uint32_t)(cycles64() / (sys_clock_hw_cycles_per_sec() / 1000000u));
}

void hw_clock_service(void)
{
	(void)cycles64(); /* keep the extension fresh (called every 10 ms) */
}

/* ---- PPS ---- */
#define PPS_NODE DT_NODELABEL(pps_in)
static const struct gpio_dt_spec pps_gpio = GPIO_DT_SPEC_GET(PPS_NODE, gpios);
static struct gpio_callback pps_cb;
static struct pps_disc *disc;
static volatile bool fix_valid;

static void pps_isr(const struct device *port, struct gpio_callback *cb, uint32_t pins)
{
	ARG_UNUSED(port);
	ARG_UNUSED(cb);
	ARG_UNUSED(pins);
	if (disc) {
		(void)pps_edge(disc, hw_now_us());
	}
}

/* ---- GNSS data: the UTC time of the most recent fix ---- */
#define GNSS_NODE DT_CHOSEN(prahari_gnss)

static void gnss_data_cb(const struct device *dev, const struct gnss_data *data)
{
	struct tm t = {0};
	int64_t utc;

	ARG_UNUSED(dev);
	fix_valid = data->info.fix_status != GNSS_FIX_STATUS_NO_FIX;
	if (!disc || data->utc.century_year == 0) {
		return;
	}
	t.tm_year = 100 + data->utc.century_year; /* 20xx - 1900 */
	t.tm_mon = data->utc.month - 1;
	t.tm_mday = data->utc.month_day;
	t.tm_hour = data->utc.hour;
	t.tm_min = data->utc.minute;
	t.tm_sec = (int)(data->utc.millisecond / 1000);
	utc = timeutil_timegm64(&t);
	/* The NMEA sentence describes the second that began at the last PPS edge. */
	pps_set_utc(disc, (uint64_t)utc);
}

GNSS_DT_DATA_CALLBACK_DEFINE(GNSS_NODE, gnss_data_cb);

int hw_gnss_init(struct pps_disc *d)
{
	int rc;

	disc = d;
	if (!gpio_is_ready_dt(&pps_gpio)) {
		return -ENODEV;
	}
	rc = gpio_pin_configure_dt(&pps_gpio, GPIO_INPUT);
	if (rc) {
		return rc;
	}
	rc = gpio_pin_interrupt_configure_dt(&pps_gpio, GPIO_INT_EDGE_TO_ACTIVE);
	if (rc) {
		return rc;
	}
	gpio_init_callback(&pps_cb, pps_isr, BIT(pps_gpio.pin));
	rc = gpio_add_callback_dt(&pps_gpio, &pps_cb);
	if (rc) {
		return rc;
	}
	return device_is_ready(DEVICE_DT_GET(GNSS_NODE)) ? 0 : -ENODEV;
}

bool hw_gnss_has_fix(void)
{
	return fix_valid;
}
```

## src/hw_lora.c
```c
/* SX1262 via Zephyr's native LoRa driver.  Async RX into a message queue
 * so the TDMA loop never blocks in the radio.
 * SPDX-License-Identifier: Apache-2.0 */
#include <string.h>
#include <zephyr/device.h>
#include <zephyr/drivers/lora.h>
#include <zephyr/kernel.h>
#include <hn/hw.h>

#define LORA_NODE DT_CHOSEN(prahari_lora)
static const struct device *const radio = DEVICE_DT_GET(LORA_NODE);

struct rx_pkt {
	uint8_t len;
	int16_t rssi;
	uint8_t data[255];
};
K_MSGQ_DEFINE(rx_q, sizeof(struct rx_pkt), 4, 4);

static struct lora_modem_config phy = {
	.bandwidth = BW_125_KHZ,
	.coding_rate = CR_4_5,
	.preamble_len = 8,
	.tx = false,
};
static bool rx_on;

static void rx_cb(const struct device *dev, uint8_t *data, uint16_t size, int16_t rssi,
		  int8_t snr, void *ud)
{
	struct rx_pkt p;

	ARG_UNUSED(dev);
	ARG_UNUSED(snr);
	ARG_UNUSED(ud);
	if (size == 0 || size > sizeof(p.data)) {
		return;
	}
	p.len = (uint8_t)size;
	p.rssi = rssi;
	memcpy(p.data, data, size);
	(void)k_msgq_put(&rx_q, &p, K_NO_WAIT);
}

int hw_lora_init(uint8_t sf, uint32_t freq_hz, int8_t tx_dbm)
{
	if (!device_is_ready(radio)) {
		return -ENODEV;
	}
	phy.frequency = freq_hz;
	phy.datarate = sf;
	phy.tx_power = tx_dbm;
	phy.tx = false;
	return lora_config(radio, &phy);
}

int hw_lora_rx_start(void)
{
	int rc;

	if (rx_on) {
		return 0;
	}
	phy.tx = false;
	rc = lora_config(radio, &phy);
	if (rc) {
		return rc;
	}
	rc = lora_recv_async(radio, rx_cb, NULL);
	rx_on = rc == 0;
	return rc;
}

int hw_lora_rx_stop(void)
{
	if (!rx_on) {
		return 0;
	}
	rx_on = false;
	return lora_recv_async(radio, NULL, NULL);
}

int hw_lora_send(const uint8_t *buf, size_t len)
{
	int rc;

	(void)hw_lora_rx_stop();
	phy.tx = true;
	rc = lora_config(radio, &phy);
	if (rc) {
		return rc;
	}
	rc = lora_send(radio, (uint8_t *)buf, (uint32_t)len);
	phy.tx = false;
	(void)lora_config(radio, &phy);
	return rc;
}

int hw_lora_rx_pop(uint8_t *buf, size_t len, int16_t *rssi)
{
	struct rx_pkt p;

	if (k_msgq_get(&rx_q, &p, K_NO_WAIT)) {
		return 0;
	}
	if (p.len > len) {
		return -ENOSPC;
	}
	memcpy(buf, p.data, p.len);
	if (rssi) {
		*rssi = p.rssi;
	}
	return p.len;
}
```

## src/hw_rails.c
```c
/* Rail enables on GPIO, battery sense on the ADC.
 * SPDX-License-Identifier: Apache-2.0 */
#include <zephyr/device.h>
#include <zephyr/drivers/adc.h>
#include <zephyr/drivers/gpio.h>
#include <hn/hw.h>

static const struct gpio_dt_spec rails_gpio[] = {
	GPIO_DT_SPEC_GET(DT_NODELABEL(rail_12v), gpios),
	GPIO_DT_SPEC_GET(DT_NODELABEL(rail_radio), gpios),
};
static const struct adc_dt_spec batt = ADC_DT_SPEC_GET_BY_NAME(DT_PATH(zephyr_user), batt);

/* Provisional carrier divider: 4:1 (12.8 V -> 3.2 V at the ADC pin). */
#define BATT_DIVIDER 4

int hw_rails_init(void)
{
	for (size_t i = 0; i < ARRAY_SIZE(rails_gpio); i++) {
		int rc;

		if (!gpio_is_ready_dt(&rails_gpio[i])) {
			return -ENODEV;
		}
		rc = gpio_pin_configure_dt(&rails_gpio[i], GPIO_OUTPUT_INACTIVE);
		if (rc) {
			return rc;
		}
	}
	if (!adc_is_ready_dt(&batt)) {
		return -ENODEV;
	}
	return adc_channel_setup_dt(&batt);
}

int hw_rail_set(void *ctx, uint8_t rail, bool on)
{
	ARG_UNUSED(ctx);
	if (rail >= ARRAY_SIZE(rails_gpio)) {
		return -EINVAL;
	}
	return gpio_pin_set_dt(&rails_gpio[rail], on ? 1 : 0);
}

uint16_t hw_batt_mv(void)
{
	int16_t raw = 0;
	struct adc_sequence seq = {.buffer = &raw, .buffer_size = sizeof(raw)};
	int32_t mv;

	if (adc_sequence_init_dt(&batt, &seq) || adc_read_dt(&batt, &seq)) {
		return 0;
	}
	mv = raw;
	if (adc_raw_to_millivolts_dt(&batt, &mv)) {
		return 0;
	}
	return (uint16_t)(mv * BATT_DIVIDER);
}
```

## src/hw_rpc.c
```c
/* MsgPack-RPC byte channel on the internal MCU<->QRB2210 UART (stand-in
 * for the Arduino bridge's SerialTransport; see hn/bridge_contract.h and
 * hn/mprpc.h). Binary, so unlike the earlier ad hoc line protocol this
 * UART can no longer double as the text console — see
 * boards/arduino_uno_q.overlay for the chosen-node change that follows
 * from that.
 * SPDX-License-Identifier: Apache-2.0 */
#include <string.h>
#include <zephyr/device.h>
#include <zephyr/drivers/uart.h>
#include <zephyr/kernel.h>
#include <hn/hw.h>

#define RPC_NODE DT_CHOSEN(prahari_rpc_uart)
static const struct device *const uart = DEVICE_DT_GET(RPC_NODE);

#define RING 1024
static struct {
	uint8_t buf[RING];
	volatile uint16_t head, tail;
} rx;

static void isr(const struct device *dev, void *ud)
{
	ARG_UNUSED(ud);
	while (uart_irq_update(dev) && uart_irq_rx_ready(dev)) {
		uint8_t b;

		while (uart_fifo_read(dev, &b, 1) == 1) {
			uint16_t next = (uint16_t)((rx.head + 1) % RING);

			if (next != rx.tail) {
				rx.buf[rx.head] = b;
				rx.head = next;
			}
		}
	}
}

int hw_rpc_init(void)
{
	int rc;

	if (!device_is_ready(uart)) {
		return -ENODEV;
	}
	rc = uart_irq_callback_user_data_set(uart, isr, NULL);
	if (rc) {
		return rc;
	}
	uart_irq_rx_enable(uart);
	return 0;
}

size_t hw_rpc_read(uint8_t *buf, size_t max)
{
	size_t n = 0;

	while (n < max && rx.tail != rx.head) {
		buf[n++] = rx.buf[rx.tail];
		rx.tail = (uint16_t)((rx.tail + 1) % RING);
	}
	return n;
}

void hw_rpc_send_bytes(const uint8_t *buf, size_t len)
{
	for (size_t i = 0; i < len; i++) {
		uart_poll_out(uart, buf[i]);
	}
}
```

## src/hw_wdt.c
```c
/* Independent watchdog (IWDG).  Fed only by the supervisor's verdict.
 * SPDX-License-Identifier: Apache-2.0 */
#include <zephyr/device.h>
#include <zephyr/drivers/watchdog.h>
#include <hn/hw.h>

static const struct device *const wdt = DEVICE_DT_GET(DT_ALIAS(watchdog0));
static int channel = -1;

int hw_wdt_init(uint32_t timeout_ms)
{
	struct wdt_timeout_cfg cfg = {
		.window = {.min = 0, .max = timeout_ms},
		.flags = WDT_FLAG_RESET_SOC,
	};

	if (!device_is_ready(wdt)) {
		return -ENODEV;
	}
	channel = wdt_install_timeout(wdt, &cfg);
	if (channel < 0) {
		return channel;
	}
	return wdt_setup(wdt, WDT_OPT_PAUSE_HALTED_BY_DBG);
}

void hw_wdt_feed(void)
{
	if (channel >= 0) {
		(void)wdt_feed(wdt, channel);
	}
}
```
